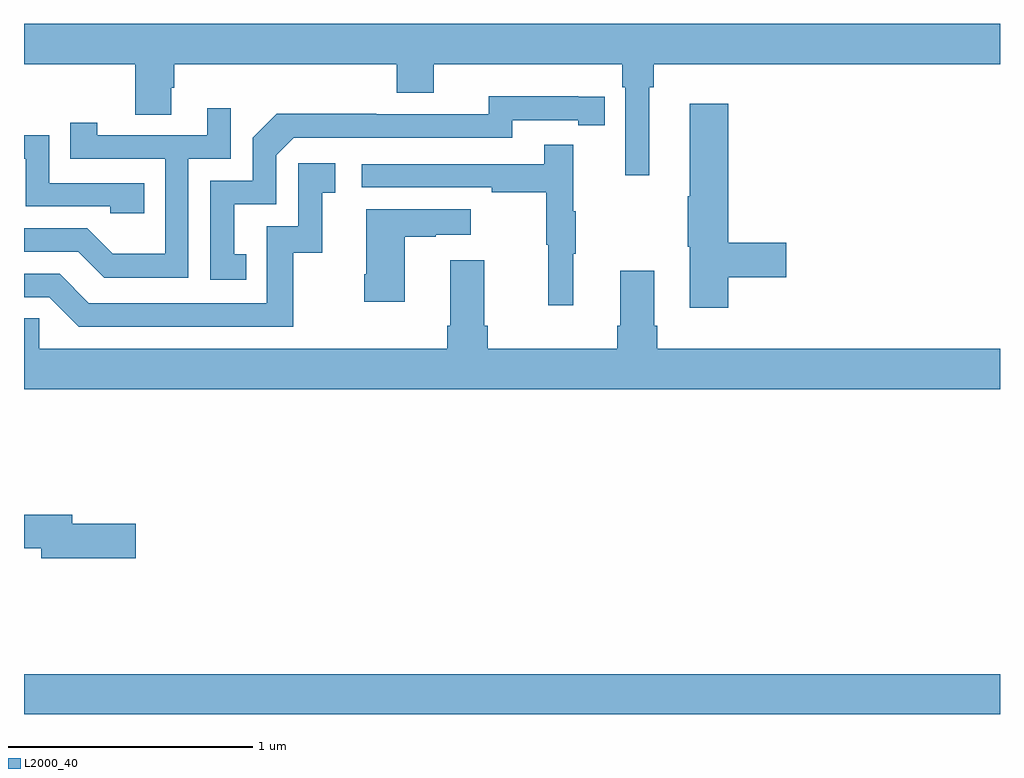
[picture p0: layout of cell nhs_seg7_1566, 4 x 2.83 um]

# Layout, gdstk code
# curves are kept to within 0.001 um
import gdstk
lib = gdstk.Library(unit=1e-6, precision=1e-09)
def R(c, l, rs):  # rectangles x0, y0, x1, y1
    for r in rs: c.add(gdstk.rectangle(r[:2], r[2:], *l))
def P(c, l, *ps):  # polygons
    for p in ps: c.add(gdstk.Polygon(p, *l))
L2000_40 = (2000, 40)

nhs_seg7_1566 = lib.new_cell('nhs_seg7_1566')
R(nhs_seg7_1566, L2000_40, [(217,1052.564,221,1052.728)])
P(nhs_seg7_1566, L2000_40, [(219.562,1055.132),(219.581,1055.132),(219.581,1055.228),(221,1055.228),(221,1055.392),(217,1055.392),(217,1055.228),(217.456,1055.228),(217.456,1055.02),(217.603,1055.02),(217.603,1055.13),(217.616,1055.13),(217.616,1055.228),(218.528,1055.228),(218.528,1055.111),(218.68,1055.111),(218.68,1055.228),(219.452,1055.228),(219.452,1055.132),(219.465,1055.132),(219.465,1054.773),(219.562,1054.773)],
  [(217.91,1054.449),(217.861,1054.449),(217.861,1054.653),(218.034,1054.653),(218.034,1054.854),(218.106,1054.926),(219,1054.926),(219,1054.998),(219.272,1054.998),(219.272,1054.978),(219.38,1054.978),(219.38,1055.094),(218.904,1055.095),(218.904,1055.022),(218.444,1055.022),(218.444,1055.024),(218.036,1055.024),(217.938,1054.926),(217.938,1054.749),(217.764,1054.749),(217.764,1054.344),(217.91,1054.344)],
  [(219.887,1054.354),(220.123,1054.354),(220.123,1054.496),(219.887,1054.496),(219.887,1055.065),(219.728,1055.065),(219.728,1054.685),(219.721,1054.685),(219.721,1054.479),(219.728,1054.479),(219.728,1054.23),(219.887,1054.23)],
  [(217.674,1054.839),(217.848,1054.839),(217.848,1055.047),(217.751,1055.047),(217.751,1054.935),(217.3,1054.935),(217.3,1054.987),(217.189,1054.987),(217.189,1054.839),(217.578,1054.839),(217.578,1054.45),(217.364,1054.45),(217.26,1054.554),(217,1054.554),(217,1054.458),(217.223,1054.458),(217.328,1054.353),(217.674,1054.353)],
  [(217.493,1054.74),(217.104,1054.74),(217.104,1054.935),(217,1054.935),(217,1054.839),(217.008,1054.839),(217.008,1054.644),(217.353,1054.644),(217.353,1054.617),(217.493,1054.617)],
  [(219.251,1054.451),(219.262,1054.451),(219.262,1054.625),(219.251,1054.625),(219.251,1054.897),(219.133,1054.897),(219.133,1054.818),(218.385,1054.818),(218.385,1054.722),(218.917,1054.722),(218.917,1054.702),(219.141,1054.702),(219.141,1054.488),(219.148,1054.488),(219.148,1054.239),(219.251,1054.239)],
  [(218.104,1054.455),(218.222,1054.455),(218.222,1054.701),(218.275,1054.701),(218.275,1054.822),(218.124,1054.822),(218.124,1054.563),(217.995,1054.563),(217.995,1054.248),(217.266,1054.248),(217.146,1054.368),(217,1054.368),(217,1054.272),(217.104,1054.272),(217.224,1054.152),(218.104,1054.152)],
  [(218.56,1054.519),(218.687,1054.519),(218.687,1054.529),(218.83,1054.529),(218.83,1054.633),(218.402,1054.633),(218.402,1054.366),(218.395,1054.366),(218.395,1054.254),(218.56,1054.254)],
  [(221,1054.06),(219.596,1054.06),(219.596,1054.156),(219.583,1054.156),(219.583,1054.381),(219.443,1054.381),(219.443,1054.156),(219.431,1054.156),(219.431,1054.06),(218.9,1054.06),(218.9,1054.156),(218.887,1054.156),(218.887,1054.423),(218.747,1054.423),(218.747,1054.156),(218.735,1054.156),(218.735,1054.06),(217.062,1054.06),(217.062,1054.187),(217,1054.187),(217,1053.896),(221,1053.896)],
  [(217.459,1053.344),(217.198,1053.344),(217.198,1053.38),(217,1053.38),(217,1053.244),(217.07,1053.244),(217.07,1053.202),(217.459,1053.202)])

lib.write_gds('nhs_seg7_1566.gds')
